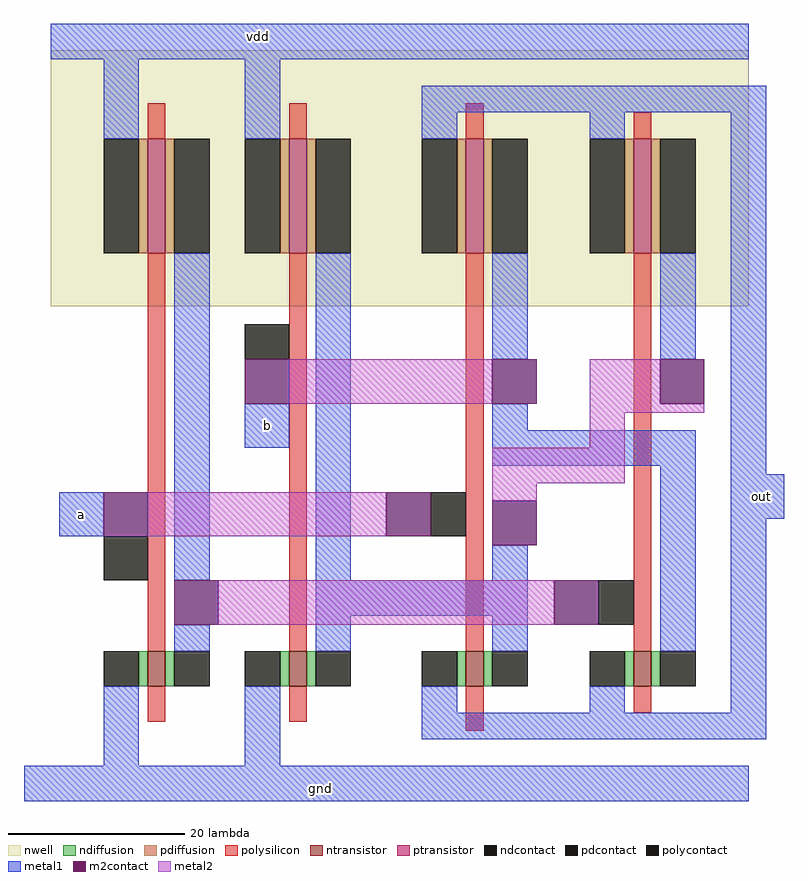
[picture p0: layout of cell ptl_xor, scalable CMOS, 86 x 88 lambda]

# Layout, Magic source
magic
tech scmos
<< nwell >>
rect 2 -2 81 27
<< ntransistor >>
rect 13 -45 15 -41
rect 29 -45 31 -41
rect 49 -45 51 -41
rect 68 -45 70 -41
<< ptransistor >>
rect 13 4 15 17
rect 29 4 31 17
rect 49 4 51 17
rect 68 4 70 17
<< ndiffusion >>
rect 12 -45 13 -41
rect 15 -45 16 -41
rect 28 -45 29 -41
rect 31 -45 32 -41
rect 48 -45 49 -41
rect 51 -45 52 -41
rect 67 -45 68 -41
rect 70 -45 71 -41
<< pdiffusion >>
rect 12 4 13 17
rect 15 4 16 17
rect 28 4 29 17
rect 31 4 32 17
rect 48 4 49 17
rect 51 4 52 17
rect 67 4 68 17
rect 70 4 71 17
<< ndcontact >>
rect 8 -45 12 -41
rect 16 -45 20 -41
rect 24 -45 28 -41
rect 32 -45 36 -41
rect 44 -45 48 -41
rect 52 -45 56 -41
rect 63 -45 67 -41
rect 71 -45 75 -41
<< pdcontact >>
rect 8 4 12 17
rect 16 4 20 17
rect 24 4 28 17
rect 32 4 36 17
rect 44 4 48 17
rect 52 4 56 17
rect 63 4 67 17
rect 71 4 75 17
<< polysilicon >>
rect 13 17 15 21
rect 29 17 31 21
rect 49 17 51 21
rect 68 17 70 20
rect 13 -41 15 4
rect 29 -41 31 4
rect 49 -41 51 4
rect 68 -41 70 4
rect 13 -49 15 -45
rect 29 -49 31 -45
rect 49 -50 51 -45
rect 68 -48 70 -45
<< polycontact >>
rect 8 -33 13 -28
rect 24 -8 29 -4
rect 45 -28 49 -23
rect 64 -38 68 -33
<< metal1 >>
rect 2 26 81 30
rect 8 17 12 26
rect 24 17 28 26
rect 44 20 83 23
rect 44 17 48 20
rect 63 17 67 20
rect 3 -28 8 -23
rect 16 -33 20 4
rect 24 -18 29 -13
rect 32 -33 36 4
rect 52 -8 56 4
rect 71 -8 75 4
rect 52 -16 56 -13
rect 52 -20 75 -16
rect 52 -33 56 -29
rect 32 -37 56 -33
rect 16 -41 20 -38
rect 32 -41 36 -37
rect 52 -41 56 -37
rect 71 -41 75 -20
rect 79 -21 83 20
rect 79 -26 85 -21
rect 8 -54 12 -45
rect 24 -54 28 -45
rect 44 -48 48 -45
rect 63 -48 67 -45
rect 79 -48 83 -26
rect 44 -51 83 -48
rect -1 -58 81 -54
<< m2contact >>
rect 8 -28 13 -23
rect 24 -13 29 -8
rect 52 -13 57 -8
rect 71 -13 76 -8
rect 40 -28 45 -23
rect 52 -29 57 -24
rect 16 -38 21 -33
rect 59 -38 64 -33
<< metal2 >>
rect 29 -13 52 -8
rect 63 -13 71 -8
rect 63 -14 76 -13
rect 63 -18 67 -14
rect 52 -22 67 -18
rect 13 -28 40 -23
rect 52 -24 57 -22
rect 21 -38 59 -33
<< labels >>
rlabel metal1 80 -26 85 -21 7 out
rlabel metal1 24 -18 29 -13 1 b
rlabel metal1 3 -28 8 -23 1 a
rlabel metal1 22 28 29 29 5 vdd
rlabel metal1 29 -57 36 -56 1 gnd
<< end >>
